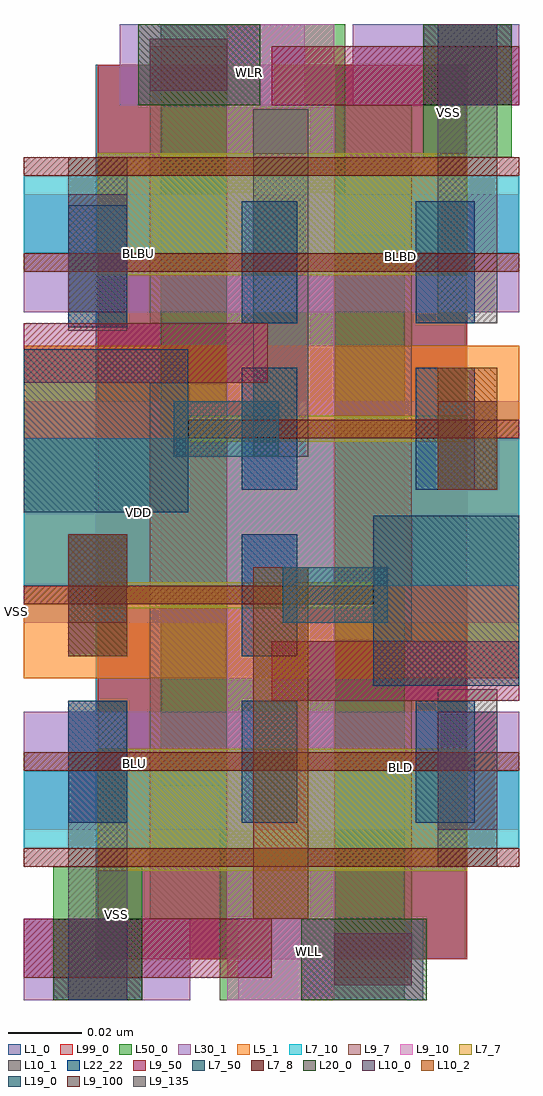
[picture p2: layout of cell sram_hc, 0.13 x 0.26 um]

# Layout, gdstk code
import gdstk
lib = gdstk.Library(unit=1e-6, precision=1e-10)
def R(c, l, rs):  # rectangles x0, y0, x1, y1
    for r in rs: c.add(gdstk.rectangle(r[:2], r[2:], *l))
def A(c, l, x, y, w, h, nx, ny, dx, dy):  # array of equal rectangles
    R(c, l, [(x+i*dx, y+j*dy, x+i*dx+w, y+j*dy+h) for i in range(nx) for j in range(ny)])
L1_0 = (1, 0)
L5_1 = (5, 1)
L7_7 = (7, 7)
L7_8 = (7, 8)
L7_10 = (7, 10)
L7_50 = (7, 50)
L9_7 = (9, 7)
L9_10 = (9, 10)
L9_50 = (9, 50)
L9_100 = (9, 100)
L9_135 = (9, 135)
L10_0 = (10, 0)
L10_1 = (10, 1)
L10_2 = (10, 2)
L19_0 = (19, 0)
L20_0 = (20, 0)
L22_22 = (22, 22)
L30_1 = (30, 1)
L50_0 = (50, 0)
L99_0 = (99, 0)

sram_hc = lib.new_cell('sram_hc')
R(sram_hc, L1_0, [(-0.0005,0,0.0995,0.242)])
R(sram_hc, L5_1, [(-0.02,0.076,0.114,0.166)])
R(sram_hc, L7_7, [(0,0.024,0.1,0.057), (0,0.095,0.0745,0.102), (0.0245,0.14,0.1,0.147), (0,0.185,0.1,0.218)])
R(sram_hc, L7_8, [(-0.02,0.025,0.114,0.03), (-0.02,0.051,0.114,0.056), (-0.02,0.096,0.0745,0.101), (0.0245,0.141,0.114,0.146), (-0.02,0.186,0.114,0.191), (-0.02,0.212,0.114,0.217)])
R(sram_hc, L7_10, [(-0.02,0.03,0.114,0.051), (-0.02,0.101,0.114,0.141), (-0.02,0.191,0.114,0.212)])
R(sram_hc, L7_50, [(0.0745,0.074,0.114,0.12), (-0.02,0.121,0.0245,0.165)])
R(sram_hc, L9_7, [(0.064,-0.005,0.085,0.07), (0.014,0.011,0.035,0.156), (0.064,0.086,0.085,0.231), (0.014,0.172,0.035,0.247)])
R(sram_hc, L9_10, [(0.035,-0.011,0.064,0.253)])
R(sram_hc, L9_50, [(-0.02,-0.005,0.047,0.011), (0.047,0.07,0.114,0.086), (-0.02,0.156,0.046,0.172), (0.047,0.231,0.114,0.247)])
R(sram_hc, L9_100, [(0.064,-0.007,0.085,0.007), (0.014,0.235,0.035,0.249)])
R(sram_hc, L9_135, [(0.064,-0.007,0.085,0.007), (0.014,0.235,0.035,0.249)])
R(sram_hc, L10_0, [(-0.008,-0.011,0.008,0.011), (0.092,0.035,0.108,0.067), (-0.008,0.091,0.008,0.115), (0.092,0.127,0.108,0.151), (-0.008,0.175,0.008,0.207), (0.092,0.231,0.108,0.253)])
R(sram_hc, L10_1, [(-0.008,-0.011,0.008,0.07), (0.092,0.025,0.108,0.073), (0.042,0.136,0.057,0.23), (-0.008,0.17,0.008,0.217), (0.092,0.172,0.108,0.253)])
R(sram_hc, L10_2, [(0.042,0.011,0.057,0.106), (-0.008,0.082,0.008,0.115), (0.092,0.127,0.108,0.16)])
R(sram_hc, L19_0, [(0.05,0.091,0.0785,0.106), (0.0205,0.136,0.049,0.151)])
R(sram_hc, L20_0, [(-0.012,-0.011,0.012,0.011), (0.055,-0.011,0.089,0.011), (0.011,0.231,0.044,0.253), (0.088,0.231,0.112,0.253)])
A(sram_hc, L22_22, 0.039, 0.037, 0.015, 0.033, 1, 4, 0, 0.045)
R(sram_hc, L22_22, [(-0.008,0.037,0.008,0.07), (0.086,0.037,0.102,0.07), (-0.008,0.082,0.008,0.115), (0.086,0.127,0.102,0.16), (-0.008,0.171,0.008,0.204), (0.086,0.172,0.102,0.205)])
R(sram_hc, L30_1, [(-0.02,-0.011,0.025,0.011), (0.038,-0.011,0.088,0.011), (-0.02,0.035,0.114,0.067), (-0.02,0.091,0.114,0.151), (-0.02,0.175,0.114,0.207), (0.006,0.231,0.056,0.253), (0.069,0.231,0.114,0.253)])
R(sram_hc, L50_0, [(-0.012,-0.011,0.012,0.025), (0.033,-0.011,0.083,0.196), (0.017,0.047,0.067,0.253), (0.088,0.217,0.112,0.253)])
R(sram_hc, L99_0, [(0,0,0.1,0.242)])
sram_hc.add(gdstk.Label('BLBU', (0.011,0.191), layer=30, texttype=2))
sram_hc.add(gdstk.Label('VDD', (0.011,0.121), layer=30, texttype=2))
sram_hc.add(gdstk.Label('BLU', (0.01,0.053), layer=30, texttype=2))
sram_hc.add(gdstk.Label('BLD', (0.082,0.052), layer=30, texttype=2))
sram_hc.add(gdstk.Label('BLBD', (0.082,0.19), layer=30, texttype=2))
sram_hc.add(gdstk.Label('VSS', (0.005,0.012), layer=50, texttype=12))
sram_hc.add(gdstk.Label('VSS', (-0.022,0.094), layer=50, texttype=12))
sram_hc.add(gdstk.Label('VSS', (0.122,0.0945), layer=50, texttype=12))
sram_hc.add(gdstk.Label('VSS', (0.095,0.229), layer=50, texttype=12))
sram_hc.add(gdstk.Label('WLR', (0.041,0.24), layer=50, texttype=12))
sram_hc.add(gdstk.Label('WLL', (0.057,0.002), layer=50, texttype=12))

lib.write_gds('sram_hc.gds')
